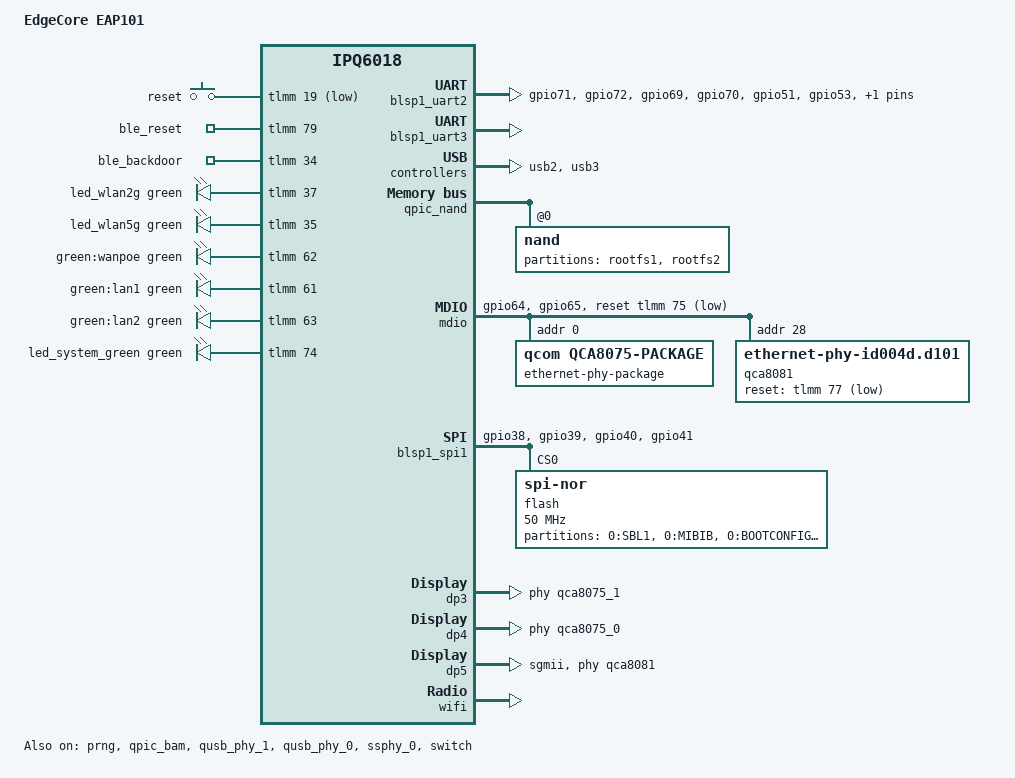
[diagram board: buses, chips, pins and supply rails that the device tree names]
// SPDX-License-Identifier: MIT, GPL-2.0 or later

/dts-v1/;

#include "ipq6018.dtsi"
#include "ipq6018-cp-cpu.dtsi"
#include "ipq6018-ess.dtsi"
#include <dt-bindings/gpio/gpio.h>
#include <dt-bindings/input/input.h>
#include <dt-bindings/leds/common.h>

/ {
	model = "EdgeCore EAP101";
	compatible = "edgecore,eap101", "qcom,ipq6018";

	aliases {
		serial0 = &blsp1_uart3;
		serial1 = &blsp1_uart2;
		led-boot = &led_system_green;
		led-failsafe = &led_system_green;
		led-running = &led_system_green;
		led-upgrade = &led_system_green;
		/* Aliases as required by u-boot to patch MAC addresses */
		ethernet0 = &dp5;
		ethernet1 = &dp4;
		ethernet2 = &dp3;
		label-mac-device = &dp5;
	};

	chosen {
		stdout-path = "serial0:115200n8";
		bootargs-append = " root=/dev/ubiblock0_1";
	};

	keys {
		compatible = "gpio-keys";

		reset {
			label = "reset";
			gpios = <&tlmm 19 GPIO_ACTIVE_LOW>;
			linux,code = <KEY_RESTART>;
		};
	};

	gpio_export {
		compatible = "gpio-export";
		#size-cells = <0>;

		ble_reset {
			gpio-export,name = "ble_reset";
			gpio-export,output = <0>;
			gpios = <&tlmm 79 GPIO_ACTIVE_HIGH>;
		};

		ble_backdoor {
			gpio-export,name = "ble_backdoor";
			gpio-export,output = <1>;
			gpios = <&tlmm 34 GPIO_ACTIVE_HIGH>;
		};
	};

	leds {
		compatible = "gpio-leds";

		led_wlan2g {
			color = <LED_COLOR_ID_GREEN>;
			function = LED_FUNCTION_WLAN_2GHZ;
			gpios = <&tlmm 37 GPIO_ACTIVE_HIGH>;
			linux,default-trigger = "phy1radio";
		};

		led_wlan5g {
			color = <LED_COLOR_ID_GREEN>;
			function = LED_FUNCTION_WLAN_5GHZ;
			gpios = <&tlmm 35 GPIO_ACTIVE_HIGH>;
			linux,default-trigger = "phy0radio";
		};

		led_wanpoe {
			label = "green:wanpoe";
			color = <LED_COLOR_ID_GREEN>;
			function = LED_FUNCTION_WAN;
			gpios = <&tlmm 62 GPIO_ACTIVE_HIGH>;
		};

		led_lan1  {
			label = "green:lan1";
			function = LED_FUNCTION_LAN;
			function-enumerator = <0>;
			color = <LED_COLOR_ID_GREEN>;
			gpios = <&tlmm 61 GPIO_ACTIVE_HIGH>;
		};

		led_lan2  {
			label = "green:lan2";
			function = LED_FUNCTION_LAN;
			function-enumerator = <1>;
			color = <LED_COLOR_ID_GREEN>;
			gpios = <&tlmm 63 GPIO_ACTIVE_HIGH>;
		};

		led_system_green: led_system {
			function = LED_FUNCTION_STATUS;
			color = <LED_COLOR_ID_GREEN>;
			gpios = <&tlmm 74 GPIO_ACTIVE_HIGH>;
		};
	};
};

&blsp1_uart2 {
	pinctrl-0 = <&hsuart_pins &btcoex_pins>;
	pinctrl-names = "default";
	dmas = <&blsp_dma 2>, <&blsp_dma 3>;
	dma-names = "tx", "rx";
	status = "okay";
};

&tlmm {
	spi_0_pins: spi-0-pins {
		pins = "gpio38", "gpio39", "gpio40", "gpio41";
		function = "blsp0_spi";
		drive-strength = <8>;
		bias-pull-down;
	};

	mdio_pins: mdio-pins {
		mdc {
			pins = "gpio64";
			function = "mdc";
			drive-strength = <8>;
			bias-pull-up;
		};

		mdio {
			pins = "gpio65";
			function = "mdio";
			drive-strength = <8>;
			bias-pull-up;
		};
	};

	hsuart_pins: hsuart_pins {
		pins = "gpio71", "gpio72", "gpio69", "gpio70";
		function = "blsp1_uart";
		drive-strength = <8>;
		bias-disable;
	};

	btcoex_pins: btcoex_pins {
		mux_0 {
			pins = "gpio51";
			function = "pta1_1";
			drive-strength = <6>;
			bias-pull-down;
		};
		mux_1 {
			pins = "gpio53";
			function = "pta1_0";
			drive-strength = <6>;
			bias-pull-down;
		};
		mux_2 {
			pins = "gpio52";
			function = "pta1_2";
			drive-strength = <6>;
			bias-pull-down;
		};
	};
};

&blsp1_uart3 {
	pinctrl-0 = <&serial_3_pins>;
	pinctrl-names = "default";
	status = "okay";
};

&prng {
	status = "okay";
};

&qpic_bam {
	status = "okay";
};

&qusb_phy_1 {
	status = "okay";
};

&usb2 {
	status = "okay";
};

&qusb_phy_0 {
	status = "okay";
};

&ssphy_0 {
	status = "okay";
};

&usb3 {
	status = "okay";
};


&qpic_nand {
	status = "okay";

	/*
	 * Bootloader will find the NAND DT node by the compatible and
	 * then "fixup" it by adding the partitions from the SMEM table
	 * using the legacy bindings thus making it impossible for us
	 * to change the partition table or utilize NVMEM for calibration.
	 * So add a dummy partitions node that bootloader will populate
	 * and set it as disabled so the kernel ignores it instead of
	 * printing warnings due to the broken way bootloader adds the
	 * partitions.
	 */
	partitions {
		status = "disabled";
	};

	nand@0 {
		reg = <0>;
		nand-ecc-strength = <8>;
		nand-ecc-step-size = <512>;
		nand-bus-width = <8>;

		partitions {
			compatible = "fixed-partitions";
			#address-cells = <1>;
			#size-cells = <1>;

			partition@0 {
				label = "rootfs1";
				reg = <0x0000000 0x3c00000>;
			};

			partition@3c00000 {
				label = "rootfs2";
				reg = <0x3c00000 0x3c00000>;
			};

		};
	};
};

&mdio {
	status = "okay";
	pinctrl-0 = <&mdio_pins>;
	pinctrl-names = "default";
	reset-gpios = <&tlmm 75 GPIO_ACTIVE_LOW>;
	reset-delay-us = <10000>;
	reset-post-delay-us = <50000>;

	ethernet-phy-package@0 {
		#address-cells = <1>;
		#size-cells = <0>;
		compatible = "qcom,qca8075-package";
		reg = <0>;

		qcom,package-mode = "psgmii";

		qca8075_0: ethernet-phy@3 {
			compatible = "ethernet-phy-ieee802.3-c22";
			reg = <3>;
		};

		qca8075_1: ethernet-phy@4 {
			compatible = "ethernet-phy-ieee802.3-c22";
			reg = <4>;
		};
	};

	qca8081: ethernet-phy@28 {
		compatible = "ethernet-phy-id004d.d101";
		reg = <28>;
		reset-gpios = <&tlmm 77 GPIO_ACTIVE_LOW>;
		reset-assert-us = <10000>;
		reset-deassert-us = <50000>;
	};
};

&switch {
	status = "okay";

	switch_lan_bmp = <(ESS_PORT3 | ESS_PORT4)>;
	switch_wan_bmp = <ESS_PORT5>;
	switch_mac_mode = <MAC_MODE_PSGMII>;
	switch_mac_mode1 = <MAC_MODE_SGMII_PLUS>;
	port3_pcs_channel = <4>;

	qcom,port_phyinfo {
		port@3 {
			port_id = <3>;
			phy_address = <4>;
		};
		port@4 {
			port_id = <4>;
			phy_address = <3>;
		};
		port@5 {
			port_id = <5>;
			phy_address = <28>;
			port_mac_sel = "QGMAC_PORT";
		};
	};
};

&edma {
	status = "okay";
};

&blsp1_spi1 {
	pinctrl-0 = <&spi_0_pins>;
	pinctrl-names = "default";
	status = "okay";

	flash@0 {
		#address-cells = <1>;
		#size-cells = <1>;
		reg = <0>;
		compatible = "jedec,spi-nor";
		spi-max-frequency = <50000000>;

		partitions {
			compatible = "fixed-partitions";
			#address-cells = <1>;
			#size-cells = <1>;

			partition@0 {
				label = "0:SBL1";
				reg = <0x0 0xc0000>;
				read-only;
			};

			partition@c0000 {
				label = "0:MIBIB";
				reg = <0xc0000 0x10000>;
				read-only;
			};

			partition@d0000 {
				label = "0:BOOTCONFIG";
				reg = <0xd0000 0x20000>;
				read-only;
			};

			partition@f0000 {
				label = "0:BOOTCONFIG1";
				reg = <0xf0000 0x20000>;
				read-only;
			};

			partition@110000 {
				label = "0:QSEE";
				reg = <0x110000 0x1a0000>;
				read-only;
			};

			partition@2b0000 {
				label = "0:QSEE_1";
				reg = <0x2b0000 0x1a0000>;
				read-only;
			};

			partition@450000 {
				label = "0:DEVCFG";
				reg = <0x450000 0x10000>;
				read-only;
			};

			partition@460000 {
				label = "mfginfo";
				reg = <0x460000 0x10000>;
				read-only;
			};

			partition@470000 {
				label = "0:RPM";
				reg = <0x470000 0x40000>;
				read-only;
			};

			partition@4b0000 {
				label = "0:RPM_1";
				reg = <0x4b0000 0x40000>;
				read-only;
			};

			partition@4f0000 {
				label = "0:CDT";
				reg = <0x4f0000 0x10000>;
				read-only;
			};

			partition@500000 {
				label = "0:CDT_1";
				reg = <0x500000 0x10000>;
				read-only;
			};

			partition@510000 {
				label = "0:APPSBLENV";
				reg = <0x510000 0x10000>;
			};

			partition@520000 {
				label = "0:APPSBL";
				reg = <0x520000 0xa0000>;
				read-only;
			};

			partition@5c0000 {
				label = "0:APPSBL_1";
				reg = <0x5c0000 0xa0000>;
				read-only;
			};

			partition@660000 {
				label = "0:ART";
				reg = <0x660000 0x80000>;
				read-only;
			};
		};
	};
};

&dp3 {
	status = "okay";
	phy-handle = <&qca8075_1>;
	label = "lan2";
};

&dp4 {
	status = "okay";
	phy-handle = <&qca8075_0>;
	label = "lan1";
};

&dp5 {
	status = "okay";
	phy-mode = "sgmii";
	phy-handle = <&qca8081>;
	label = "wan";
};

&wifi {
	status = "okay";

	qcom,ath11k-calibration-variant = "edgecore-eap101";
};
